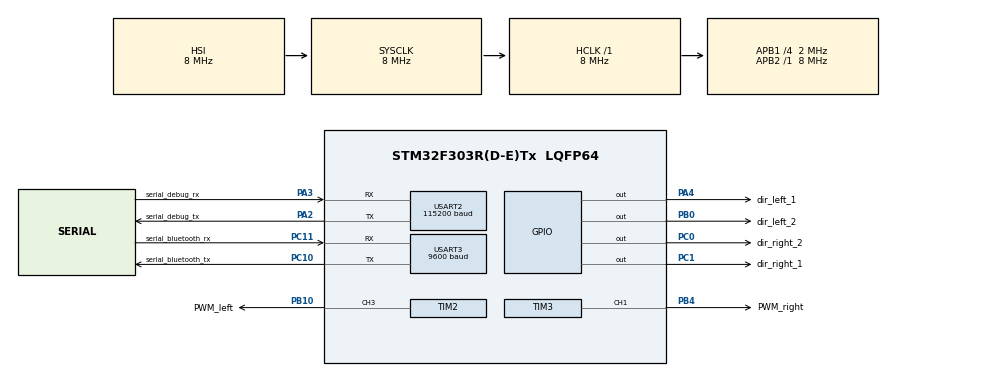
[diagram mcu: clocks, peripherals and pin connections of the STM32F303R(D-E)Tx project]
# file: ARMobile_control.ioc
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Mcu.Family=STM32F3
Mcu.Name=STM32F303R(D-E)Tx
Mcu.Package=LQFP64
NVIC.PriorityGroup=NVIC_PRIORITYGROUP_4
NVIC.USART2_IRQn=true\:0\:0\:false\:false\:true\:true\:true
NVIC.USART3_IRQn=true\:0\:0\:false\:false\:true\:true\:true
PA2.GPIO_Label=serial_debug_tx
PA2.Mode=Asynchronous
PA2.Signal=USART2_TX
PA3.GPIO_Label=serial_debug_rx
PA3.Mode=Asynchronous
PA3.Signal=USART2_RX
PA4.GPIO_Label=dir_left_1
PA4.Signal=GPIO_Output
PB0.GPIO_Label=dir_left_2
PB0.Signal=GPIO_Output
PB10.GPIO_Label=PWM_left
PB10.Signal=S_TIM2_CH3
PB4.GPIO_Label=PWM_right
PB4.Signal=S_TIM3_CH1
PC0.GPIO_Label=dir_right_2
PC0.Signal=GPIO_Output
PC1.GPIO_Label=dir_right_1
PC1.Signal=GPIO_Output
PC10.GPIO_Label=serial_bluetooth_tx
PC10.Mode=Asynchronous
PC10.Signal=USART3_TX
PC11.GPIO_Label=serial_bluetooth_rx
PC11.Mode=Asynchronous
PC11.Signal=USART3_RX
ProjectManager.HeapSize=0x200
ProjectManager.StackSize=0x400
ProjectManager.TargetToolchain=STM32CubeIDE
RCC.AHBFreq_Value=8000000
RCC.APB1CLKDivider=RCC_HCLK_DIV4
RCC.APB1Freq_Value=2000000
RCC.APB1TimFreq_Value=4000000
RCC.APB2Freq_Value=8000000
RCC.APB2TimFreq_Value=8000000
RCC.CortexFreq_Value=8000000
RCC.HCLKFreq_Value=8000000
RCC.HSE_VALUE=8000000
RCC.HSI_VALUE=8000000
RCC.LSE_VALUE=32768
RCC.SYSCLKFreq_VALUE=8000000
RCC.USBFreq_Value=16000000
SH.S_TIM2_CH3.0=TIM2_CH3,PWM Generation3 CH3
SH.S_TIM3_CH1.0=TIM3_CH1,PWM Generation1 CH1
TIM2.Channel-PWM\ Generation3\ CH3=TIM_CHANNEL_3
TIM2.Period=99
TIM2.Prescaler=1000
TIM2.Pulse-PWM\ Generation3\ CH3=50
TIM3.Channel-PWM\ Generation1\ CH1=TIM_CHANNEL_1
TIM3.Period=99
TIM3.Prescaler=1000
TIM3.Pulse-PWM\ Generation1\ CH1=50
USART2.BaudRate=115200
USART2.VirtualMode-Asynchronous=VM_ASYNC
USART3.BaudRate=9600
USART3.VirtualMode-Asynchronous=VM_ASYNC
VP_TIM2_VS_ClockSourceINT.Mode=Internal
VP_TIM3_VS_ClockSourceINT.Mode=Internal
board=custom

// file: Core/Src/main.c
/* USER CODE BEGIN Header */
/**
  ******************************************************************************
  * @file           : main.c
  * @brief          : Main program body
  ******************************************************************************
  * @attention
  *
  * <h2><center>&copy; Copyright (c) 2021 STMicroelectronics.
  * All rights reserved.</center></h2>
  *
  * This software component is licensed by ST under BSD 3-Clause license,
  * the "License"; You may not use this file except in compliance with the
  * License. You may obtain a copy of the License at:
  *                        opensource.org/licenses/BSD-3-Clause
  *
  ******************************************************************************
  */
/* USER CODE END Header */
#include "main.h"

/* USER CODE BEGIN PD */
// forward and backward moving speed
#define FWD_SPEED 70
#define BWD_SPEED 70
// speed for the outer wheels when turning
#define TURN_SPEED 50
// backwards speed for the inner wheels when turning
#define ANTITURN_SPEED 10
// time to wait before processing next keypress
#define DELAY_TIME 10
/* USER CODE END PD */

TIM_HandleTypeDef htim2;
TIM_HandleTypeDef htim3;

UART_HandleTypeDef huart2;
UART_HandleTypeDef huart3;

/* USER CODE BEGIN PV */

typedef enum DirectionTypeDef{
	FORWARD,
	BACKWARD
}DirectionTypeDef;

enum speed{
	slow = 30,
	normal = 60,
	fast = 90
}speedMode = slow;

volatile uint8_t data = 0;
volatile uint8_t ctrl_msg = 0;

uint8_t left_presses = 0, right_presses = 0, fwd_presses = 0, bwd_presses = 0;

const uint8_t err_bluetooth[] = "Illegal Bluetooth character\r\n";
const uint8_t msg_init[] = "Initialized, version " __DATE__ " " __TIME__ "\r\n";
/* USER CODE END PV */

void SystemClock_Config(void);
static void MX_GPIO_Init(void);
static void MX_TIM2_Init(void);
static void MX_TIM3_Init(void);
static void MX_USART2_UART_Init(void);
static void MX_USART3_UART_Init(void);
/* USER CODE BEGIN PFP */

static void Stop(void);

inline static void Set_Speed_Right(uint8_t);		// 0 <= param < 100
inline static void Set_Speed_Left(uint8_t);			// 0 <= param < 100

inline static void Set_Speed(uint8_t);

static void Set_Dir_Right(DirectionTypeDef);
static void Set_Dir_Left(DirectionTypeDef);

/* USER CODE END PFP */

int main(void)
{

  /* MCU Configuration--------------------------------------------------------*/

  /* Reset of all peripherals, Initializes the Flash interface and the Systick. */
  HAL_Init();

  /* Configure the system clock */
  SystemClock_Config();

  /* Initialize all configured peripherals */
  MX_GPIO_Init();
  MX_TIM2_Init();
  MX_TIM3_Init();
  MX_USART2_UART_Init();
  MX_USART3_UART_Init();
  /* USER CODE BEGIN 2 */

  HAL_UART_Transmit(&huart2, msg_init, sizeof(msg_init), 100);

  // comm:
  HAL_UART_Receive_IT(&huart3, &ctrl_msg, 1);
  HAL_UART_Receive_IT(&huart2, &data, 1);

  // PWM
  HAL_TIM_PWM_Start(&htim2, TIM_CHANNEL_3);
  HAL_TIM_PWM_Start(&htim3, TIM_CHANNEL_1);

  // Init movement
  Stop();

  /* USER CODE END 2 */

  /* Infinite loop */
  /* USER CODE BEGIN WHILE */
  while (1)
  {

//	  while(left_presses>0){
//		  Set_Dir_Left(FORWARD);
//		  Set_Dir_Right(BACKWARD);
//		  Set_Speed_Left(TURN_SPEED);
//		  Set_Speed_Right(ANTITURN_SPEED);
//		  left_presses--;
//		  HAL_Delay(DELAY_TIME);
//	  }
//	  while(right_presses>0){
//		  Set_Dir_Left(BACKWARD);
//		  Set_Dir_Right(FORWARD);
//		  Set_Speed_Left(ANTITURN_SPEED);
//		  Set_Speed_Right(TURN_SPEED);
//		  right_presses--;
//		  HAL_Delay(DELAY_TIME);
//	  }
//	  while(fwd_presses>0){
//		  Set_Dir_Left(FORWARD);
//		  Set_Dir_Right(FORWARD);
//		  Set_Speed_Left(FWD_SPEED);
//		  Set_Speed_Right(FWD_SPEED);
//		  fwd_presses--;
//		  HAL_Delay(DELAY_TIME);
//	  }
//	  while(bwd_presses>0){
//		  Set_Dir_Left(BACKWARD);
//		  Set_Dir_Right(BACKWARD);
//		  Set_Speed_Left(BWD_SPEED);
//		  Set_Speed_Right(BWD_SPEED);
//		  bwd_presses--;
//		  HAL_Delay(DELAY_TIME);
//	  }

    /* USER CODE END WHILE */

  }
}

void SystemClock_Config(void)
{
  RCC_OscInitTypeDef RCC_OscInitStruct = {0};
  RCC_ClkInitTypeDef RCC_ClkInitStruct = {0};
  RCC_PeriphCLKInitTypeDef PeriphClkInit = {0};

  /** Initializes the RCC Oscillators according to the specified parameters
  * in the RCC_OscInitTypeDef structure.
  */
  RCC_OscInitStruct.OscillatorType = RCC_OSCILLATORTYPE_HSI;
  RCC_OscInitStruct.HSIState = RCC_HSI_ON;
  RCC_OscInitStruct.HSICalibrationValue = RCC_HSICALIBRATION_DEFAULT;
  RCC_OscInitStruct.PLL.PLLState = RCC_PLL_NONE;
  if (HAL_RCC_OscConfig(&RCC_OscInitStruct) != HAL_OK)
  {
    Error_Handler();
  }
  /** Initializes the CPU, AHB and APB buses clocks
  */
  RCC_ClkInitStruct.ClockType = RCC_CLOCKTYPE_HCLK|RCC_CLOCKTYPE_SYSCLK
                              |RCC_CLOCKTYPE_PCLK1|RCC_CLOCKTYPE_PCLK2;
  RCC_ClkInitStruct.SYSCLKSource = RCC_SYSCLKSOURCE_HSI;
  RCC_ClkInitStruct.AHBCLKDivider = RCC_SYSCLK_DIV1;
  RCC_ClkInitStruct.APB1CLKDivider = RCC_HCLK_DIV4;
  RCC_ClkInitStruct.APB2CLKDivider = RCC_HCLK_DIV1;

  if (HAL_RCC_ClockConfig(&RCC_ClkInitStruct, FLASH_LATENCY_0) != HAL_OK)
  {
    Error_Handler();
  }
  PeriphClkInit.PeriphClockSelection = RCC_PERIPHCLK_USART2|RCC_PERIPHCLK_USART3
                              |RCC_PERIPHCLK_TIM2|RCC_PERIPHCLK_TIM34;
  PeriphClkInit.Usart2ClockSelection = RCC_USART2CLKSOURCE_PCLK1;
  PeriphClkInit.Usart3ClockSelection = RCC_USART3CLKSOURCE_PCLK1;
  PeriphClkInit.Tim2ClockSelection = RCC_TIM2CLK_HCLK;
  PeriphClkInit.Tim34ClockSelection = RCC_TIM34CLK_HCLK;
  if (HAL_RCCEx_PeriphCLKConfig(&PeriphClkInit) != HAL_OK)
  {
    Error_Handler();
  }
}

static void MX_TIM2_Init(void)
{

  TIM_ClockConfigTypeDef sClockSourceConfig = {0};
  TIM_MasterConfigTypeDef sMasterConfig = {0};
  TIM_OC_InitTypeDef sConfigOC = {0};

  htim2.Instance = TIM2;
  htim2.Init.Prescaler = 1000;
  htim2.Init.CounterMode = TIM_COUNTERMODE_UP;
  htim2.Init.Period = 99;
  htim2.Init.ClockDivision = TIM_CLOCKDIVISION_DIV1;
  htim2.Init.AutoReloadPreload = TIM_AUTORELOAD_PRELOAD_DISABLE;
  if (HAL_TIM_Base_Init(&htim2) != HAL_OK)
  {
    Error_Handler();
  }
  sClockSourceConfig.ClockSource = TIM_CLOCKSOURCE_INTERNAL;
  if (HAL_TIM_ConfigClockSource(&htim2, &sClockSourceConfig) != HAL_OK)
  {
    Error_Handler();
  }
  if (HAL_TIM_PWM_Init(&htim2) != HAL_OK)
  {
    Error_Handler();
  }
  sMasterConfig.MasterOutputTrigger = TIM_TRGO_RESET;
  sMasterConfig.MasterSlaveMode = TIM_MASTERSLAVEMODE_DISABLE;
  if (HAL_TIMEx_MasterConfigSynchronization(&htim2, &sMasterConfig) != HAL_OK)
  {
    Error_Handler();
  }
  sConfigOC.OCMode = TIM_OCMODE_PWM1;
  sConfigOC.Pulse = 50;
  sConfigOC.OCPolarity = TIM_OCPOLARITY_HIGH;
  sConfigOC.OCFastMode = TIM_OCFAST_DISABLE;
  if (HAL_TIM_PWM_ConfigChannel(&htim2, &sConfigOC, TIM_CHANNEL_3) != HAL_OK)
  {
    Error_Handler();
  }
  HAL_TIM_MspPostInit(&htim2);

}

static void MX_TIM3_Init(void)
{

  TIM_ClockConfigTypeDef sClockSourceConfig = {0};
  TIM_MasterConfigTypeDef sMasterConfig = {0};
  TIM_OC_InitTypeDef sConfigOC = {0};

  htim3.Instance = TIM3;
  htim3.Init.Prescaler = 1000;
  htim3.Init.CounterMode = TIM_COUNTERMODE_UP;
  htim3.Init.Period = 99;
  htim3.Init.ClockDivision = TIM_CLOCKDIVISION_DIV1;
  htim3.Init.AutoReloadPreload = TIM_AUTORELOAD_PRELOAD_DISABLE;
  if (HAL_TIM_Base_Init(&htim3) != HAL_OK)
  {
    Error_Handler();
  }
  sClockSourceConfig.ClockSource = TIM_CLOCKSOURCE_INTERNAL;
  if (HAL_TIM_ConfigClockSource(&htim3, &sClockSourceConfig) != HAL_OK)
  {
    Error_Handler();
  }
  if (HAL_TIM_PWM_Init(&htim3) != HAL_OK)
  {
    Error_Handler();
  }
  sMasterConfig.MasterOutputTrigger = TIM_TRGO_RESET;
  sMasterConfig.MasterSlaveMode = TIM_MASTERSLAVEMODE_DISABLE;
  if (HAL_TIMEx_MasterConfigSynchronization(&htim3, &sMasterConfig) != HAL_OK)
  {
    Error_Handler();
  }
  sConfigOC.OCMode = TIM_OCMODE_PWM1;
  sConfigOC.Pulse = 50;
  sConfigOC.OCPolarity = TIM_OCPOLARITY_HIGH;
  sConfigOC.OCFastMode = TIM_OCFAST_DISABLE;
  if (HAL_TIM_PWM_ConfigChannel(&htim3, &sConfigOC, TIM_CHANNEL_1) != HAL_OK)
  {
    Error_Handler();
  }
  HAL_TIM_MspPostInit(&htim3);

}

static void MX_USART2_UART_Init(void)
{

  huart2.Instance = USART2;
  huart2.Init.BaudRate = 115200;
  huart2.Init.WordLength = UART_WORDLENGTH_8B;
  huart2.Init.StopBits = UART_STOPBITS_1;
  huart2.Init.Parity = UART_PARITY_NONE;
  huart2.Init.Mode = UART_MODE_TX_RX;
  huart2.Init.HwFlowCtl = UART_HWCONTROL_NONE;
  huart2.Init.OverSampling = UART_OVERSAMPLING_16;
  huart2.Init.OneBitSampling = UART_ONE_BIT_SAMPLE_DISABLE;
  huart2.AdvancedInit.AdvFeatureInit = UART_ADVFEATURE_NO_INIT;
  if (HAL_UART_Init(&huart2) != HAL_OK)
  {
    Error_Handler();
  }

}

static void MX_USART3_UART_Init(void)
{

  huart3.Instance = USART3;
  huart3.Init.BaudRate = 9600;
  huart3.Init.WordLength = UART_WORDLENGTH_8B;
  huart3.Init.StopBits = UART_STOPBITS_1;
  huart3.Init.Parity = UART_PARITY_NONE;
  huart3.Init.Mode = UART_MODE_TX_RX;
  huart3.Init.HwFlowCtl = UART_HWCONTROL_NONE;
  huart3.Init.OverSampling = UART_OVERSAMPLING_16;
  huart3.Init.OneBitSampling = UART_ONE_BIT_SAMPLE_DISABLE;
  huart3.AdvancedInit.AdvFeatureInit = UART_ADVFEATURE_NO_INIT;
  if (HAL_UART_Init(&huart3) != HAL_OK)
  {
    Error_Handler();
  }

}

static void MX_GPIO_Init(void)
{
  GPIO_InitTypeDef GPIO_InitStruct = {0};

  /* GPIO Ports Clock Enable */
  __HAL_RCC_GPIOC_CLK_ENABLE();
  __HAL_RCC_GPIOA_CLK_ENABLE();
  __HAL_RCC_GPIOB_CLK_ENABLE();

  /*Configure GPIO pin Output Level */
  HAL_GPIO_WritePin(GPIOC, dir_right_2_Pin|dir_right_1_Pin, GPIO_PIN_RESET);

  /*Configure GPIO pin Output Level */
  HAL_GPIO_WritePin(dir_left_1_GPIO_Port, dir_left_1_Pin, GPIO_PIN_RESET);

  /*Configure GPIO pin Output Level */
  HAL_GPIO_WritePin(dir_left_2_GPIO_Port, dir_left_2_Pin, GPIO_PIN_RESET);

  /*Configure GPIO pins : dir_right_2_Pin dir_right_1_Pin */
  GPIO_InitStruct.Pin = dir_right_2_Pin|dir_right_1_Pin;
  GPIO_InitStruct.Mode = GPIO_MODE_OUTPUT_PP;
  GPIO_InitStruct.Pull = GPIO_NOPULL;
  GPIO_InitStruct.Speed = GPIO_SPEED_FREQ_LOW;
  HAL_GPIO_Init(GPIOC, &GPIO_InitStruct);

  /*Configure GPIO pin : dir_left_1_Pin */
  GPIO_InitStruct.Pin = dir_left_1_Pin;
  GPIO_InitStruct.Mode = GPIO_MODE_OUTPUT_PP;
  GPIO_InitStruct.Pull = GPIO_NOPULL;
  GPIO_InitStruct.Speed = GPIO_SPEED_FREQ_LOW;
  HAL_GPIO_Init(dir_left_1_GPIO_Port, &GPIO_InitStruct);

  /*Configure GPIO pin : dir_left_2_Pin */
  GPIO_InitStruct.Pin = dir_left_2_Pin;
  GPIO_InitStruct.Mode = GPIO_MODE_OUTPUT_PP;
  GPIO_InitStruct.Pull = GPIO_NOPULL;
  GPIO_InitStruct.Speed = GPIO_SPEED_FREQ_LOW;
  HAL_GPIO_Init(dir_left_2_GPIO_Port, &GPIO_InitStruct);

}

/* USER CODE BEGIN 4 */

void HAL_UART_RxCpltCallback(UART_HandleTypeDef * huart){
	if(huart->Instance == huart3.Instance){
		// bluetooth message
		HAL_UART_Transmit(&huart2, &ctrl_msg, 1, 100);

		switch(ctrl_msg){

		case 'l':
			// left_presses++;
			Set_Dir_Right(BACKWARD);
			Set_Dir_Left(FORWARD);
			Set_Speed(speedMode);
			break;
		case 'r':
			// right_presses++;
			Set_Dir_Right(FORWARD);
			Set_Dir_Left(BACKWARD);
			Set_Speed(speedMode);
			break;
		case 'f':
			// fwd_presses++;
			Set_Dir_Right(FORWARD);
			Set_Dir_Left(FORWARD);
			Set_Speed(speedMode);
			break;
		case 'b':
			// bwd_presses++;
			Set_Dir_Right(BACKWARD);
			Set_Dir_Left(BACKWARD);
			Set_Speed(speedMode);
			break;
		case '+':
			switch(speedMode){
			case slow:
				speedMode = normal;
				break;
			case normal:
				speedMode = fast;
				break;
			default:
				break;
			}
			Set_Speed(speedMode);
			break;
		case '-':
			switch(speedMode){
			case fast:
				speedMode = normal;
				break;
			case normal:
				speedMode = slow;
				break;
			default:
				break;
			}
			Set_Speed(speedMode);
			break;
		case 's':
			Stop();
			break;
		default:
			//HAL_UART_Transmit(&huart2, err_bluetooth, sizeof(err_bluetooth), 100);
			break;
		}

		HAL_UART_Receive_IT(&huart3, &ctrl_msg, 1);

	}else if(huart->Instance == huart2.Instance){
		// serial terminal message
		HAL_UART_Transmit(&huart2, &data, 1, 100);
		switch(data){

		case 'e':
			Set_Dir_Right(FORWARD);
			break;
		case 'd':
			Set_Dir_Right(BACKWARD);
			break;
		case 'q':
			Set_Dir_Left(FORWARD);
			break;
		case 'a':
			Set_Dir_Left(BACKWARD);
			break;
		case 'r':
			Set_Speed_Left(70);
			break;
		case 'f':
			Set_Speed_Left(30);
			break;
		case 't':
			Set_Speed_Right(70);
			break;
		case 'g':
			Set_Speed_Right(30);
			break;
		case 's':
			Stop();
			break;
		default:
			break;
		}
		HAL_UART_Receive_IT(&huart2, &data, 1);
	}
	return;
}

void Stop(void){
	HAL_GPIO_WritePin(GPIOA, GPIO_PIN_4, 0);
	HAL_GPIO_WritePin(GPIOB, GPIO_PIN_0, 0);
	HAL_GPIO_WritePin(GPIOC, GPIO_PIN_1, 0);
	HAL_GPIO_WritePin(GPIOC, GPIO_PIN_0, 0);

	Set_Speed_Left(0);
	Set_Speed_Right(0);

	return;
}

void Set_Speed_Right(uint8_t param){
	TIM3->CCR1 = param;
	return;
}

void Set_Speed_Left(uint8_t param){
	TIM2->CCR3 = param;
	return;
}

static void Set_Dir_Right(DirectionTypeDef dir){
	switch (dir){
	case FORWARD:
		HAL_GPIO_WritePin(GPIOC, GPIO_PIN_1, 1);
		HAL_GPIO_WritePin(GPIOC, GPIO_PIN_0, 0);
		break;
	case BACKWARD:
		HAL_GPIO_WritePin(GPIOC, GPIO_PIN_1, 0);
		HAL_GPIO_WritePin(GPIOC, GPIO_PIN_0, 1);
		break;
	default:
		break;
	}
	return;
}

static void Set_Dir_Left(DirectionTypeDef dir){
	switch (dir){
		case FORWARD:
			HAL_GPIO_WritePin(GPIOA, GPIO_PIN_4, 1);
			HAL_GPIO_WritePin(GPIOB, GPIO_PIN_0, 0);
			break;
		case BACKWARD:
			HAL_GPIO_WritePin(GPIOA, GPIO_PIN_4, 0);
			HAL_GPIO_WritePin(GPIOB, GPIO_PIN_0, 1);
			break;
		default:
			break;
		}
	return;
}

static void Set_Speed(uint8_t speed){
	Set_Speed_Right(speed);
	Set_Speed_Left(speed);
	return;
}

/* USER CODE END 4 */

void Error_Handler(void)
{
  __disable_irq();
  while (1)
  {
  }
}

/************************ (C) COPYRIGHT STMicroelectronics *****END OF FILE****/
